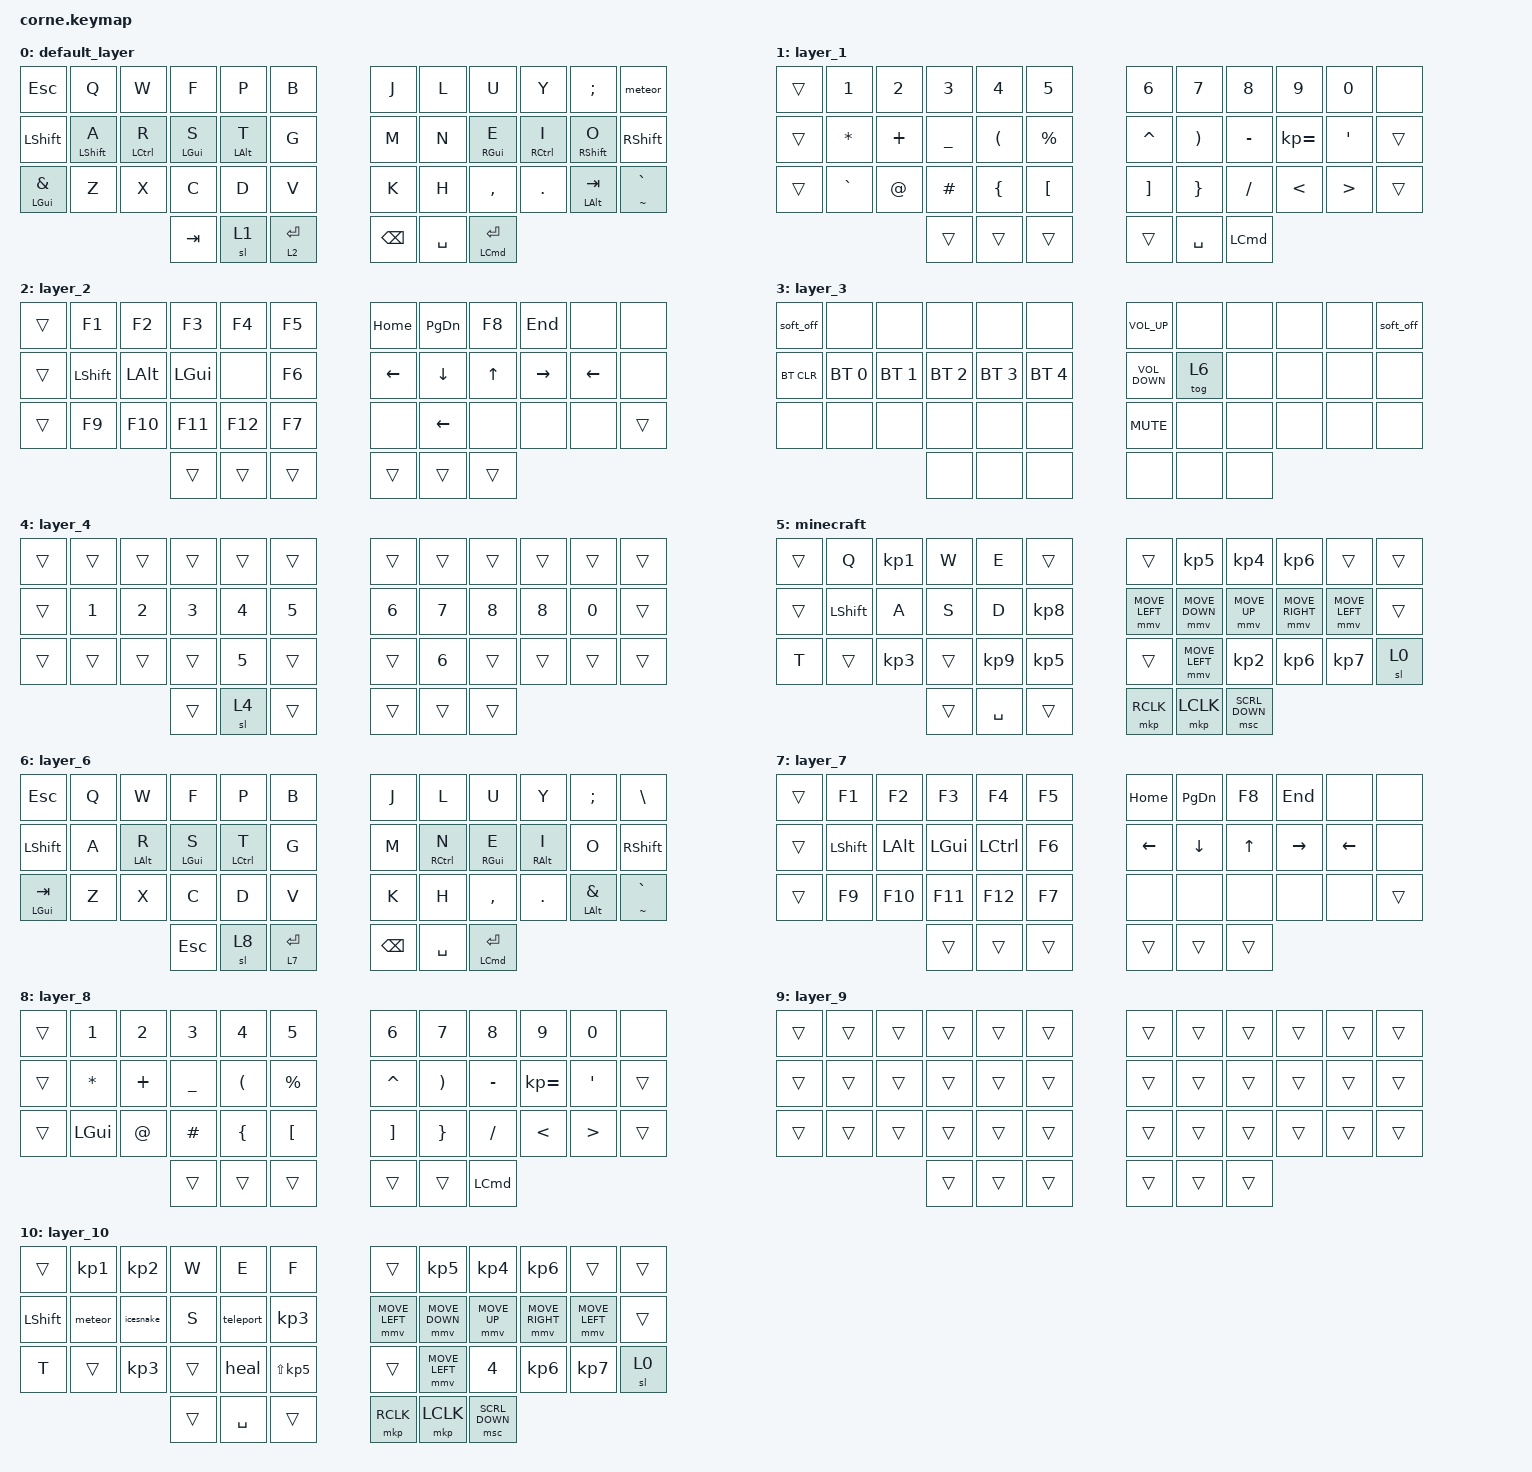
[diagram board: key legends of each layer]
/*
 * Copyright (c) 2020 The ZMK Contributors
 *s
 * SPDX-License-Identifier: MIT
 */

#include <dt-bindings/zmk/mouse.h>
#include <behaviors.dtsi>
#include <dt-bindings/zmk/bt.h>
#include <dt-bindings/zmk/keys.h>
#include <dt-bindings/zmk/pointing.h>

#define ZMK_POINTING_DEFAULT_MOVE_VAL 1500
#define ZMK_POINTING_DEFAULT_SCRL_VAL 20

/ {
    behaviors {
        /* --- index-finger mod-taps (parameterized: expect two params at use site) --- */

        mt_index_left: mt_index_left {
            compatible = "zmk,behavior-hold-tap";
            label = "MT_INDEX_LEFT";
            #binding-cells = <2>;
            tapping-term-ms = <500>;
            require-prior-idle-ms = <100>;
            flavor = "tap-preferred";
            quick-tap-ms = <50>;
            bindings = <&kp>, <&kp>;
        };

        mt_index_right: mt_index_right {
            compatible = "zmk,behavior-hold-tap";
            label = "MT_INDEX_RIGHT";
            #binding-cells = <2>;
            tapping-term-ms = <500>;
            require-prior-idle-ms = <100>;
            flavor = "tap-preferred";
            quick-tap-ms = <50>;
            bindings = <&kp>, <&kp>;
        };

        backspace_delete: backspace_delete {
            compatible = "zmk,behavior-mod-morph";
            label = "BACKSPACE_DELETE";
            bindings = <&kp BACKSPACE>, <&kp DELETE>;

            #binding-cells = <0>;
            mods = <(MOD_LSFT)>;
        };

        capslock_layer1: capslock_layer1 {
            compatible = "zmk,behavior-tap-dance";
            label = "CAPSLOCK_LAYER1";
            #binding-cells = <0>;
            bindings = <&mo 1>, <&kp CAPSLOCK>;
        };
    };

    combos {
        compatible = "zmk,combos";
        combo_timeout = <25>;

        mo_layer3 {
            bindings = <&mo 3>;
            key-positions = <37 38>;
        };

        layer-3-right {
            bindings = <&mo 3>;
            key-positions = <39 40>;
        };

        lparen {
            bindings = <&kp QUESTION>;
            key-positions = <16 15>;
            timeout-ms = <20>;
        };

        exclam {
            bindings = <&kp EXCLAMATION>;
            key-positions = <19 20>;
            timeout-ms = <20>;
        };

        backslash {
            bindings = <&kp BACKSLASH>;
            key-positions = <16 19>;
            timeout-ms = <20>;
        };

        dollar {
            bindings = <&kp DOLLAR>;
            key-positions = <15 20>;
            timeout-ms = <20>;
        };

        pipe {
            bindings = <&kp PIPE>;
            key-positions = <13 22>;
            timeout-ms = <20>;
        };

        tab {
            bindings = <&kp TAB>;
            key-positions = <40 36>;
            timeout-ms = <20>;
        };

        minecraffft {
            bindings = <&tog 5>;
            key-positions = <12 23>;
        };

        actuallymct {
            bindings = <&to 10>;
            key-positions = <2 14 15 3>;
        };

        esc {
            bindings = <&kp ESC>;
            key-positions = <15 19>;
        };
    };

    macros {
        teleport: teleport {
            compatible = "zmk,behavior-macro";
            #binding-cells = <0>;
            bindings = <&mkp RCLK &mkp RCLK &mkp RCLK>;
            label = "TELEPORT";
        };

        icesnake: meteor {
            compatible = "zmk,behavior-macro";
            #binding-cells = <0>;
            bindings = <&mkp RCLK &mkp RCLK &mkp LCLK>;
            label = "METEOR";
        };

        meteor: icesnake {
            compatible = "zmk,behavior-macro";
            #binding-cells = <0>;
            bindings = <&mkp RCLK &mkp LCLK &kp TILDE &mkp LCLK>;
            label = "ICESNAKE";
        };

        heal: heal {
            compatible = "zmk,behavior-macro";
            #binding-cells = <0>;
            bindings = <&mkp RCLK &mkp LCLK &mkp RCLK>;
            label = "HEAL";
        };
    };

    keymap {
        compatible = "zmk,keymap";

        default_layer {
            // -----------------------------------------------------------------------------------------
            // |  TAB |  Q  |  W  |  E  |  R  |  T  |   |  Y  |  U   |  I  |  O  |  P  | BSPC |
            // | CTRL |  A  |  S  |  D  |  F  |  G  |   |  H  |  J   |  K  |  L  |  ;  |  '   |
            // | SHFT |  Z  |  X  |  C  |  V  |  B  |   |  N  |  M   |  ,  |  .  |  /  | ESC  |
            //                    | GUI | LWR | SPC |   | ENT | RSE  | ALT |

            bindings = <
&kp ESC                 &kp Q                        &kp W                   &kp F                      &kp P                  &kp B          &kp J          &kp L      &kp U                       &kp Y                   &kp SEMICOLON                  &meteor
&kp LEFT_SHIFT          &mt_index_left LEFT_SHIFT A  &mt_index_left LCTRL R  &mt_index_left LEFT_GUI S  &mt_index_left LALT T  &kp G          &kp M          &kp N      &mt_index_left RIGHT_GUI E  &mt_index_left RCTRL I  &mt_index_right RIGHT_SHIFT O  &kp RIGHT_SHIFT
&mt LEFT_GUI AMPERSAND  &kp Z                        &kp X                   &kp C                      &kp D                  &kp V          &kp K          &kp H      &kp COMMA                   &kp DOT                 &mt LEFT_ALT TAB               &mt TILDE GRAVE
                                                                             &kp TAB                    &sl 1                  &lt 2 ENTER    &kp BACKSPACE  &kp SPACE  &mt LEFT_COMMAND ENTER
            >;
        };

        layer_1 {
            bindings = <
&trans  &kp NUMBER_1  &kp NUMBER_2  &kp NUMBER_3  &kp NUMBER_4          &kp N5              &kp NUMBER_6       &kp N7                 &kp N8     &kp N9        &kp N0            &none
&trans  &kp STAR      &kp PLUS      &kp UNDER     &kp LEFT_PARENTHESIS  &kp PERCENT         &kp CARET          &kp RIGHT_PARENTHESIS  &kp MINUS  &kp KP_EQUAL  &kp SINGLE_QUOTE  &trans
&trans  &kp GRAVE     &kp AT        &kp POUND     &kp LEFT_BRACE        &kp LEFT_BRACKET    &kp RIGHT_BRACKET  &kp RIGHT_BRACE        &kp FSLH   &kp LT        &kp GT            &trans
                                    &trans        &trans                &trans              &trans             &kp SPACE              &kp LCMD
            >;
        };

        layer_2 {
            bindings = <
&trans  &kp F1          &kp F2        &kp F3        &kp F4   &kp F5    &kp HOME  &kp PAGE_DOWN   &kp F8        &kp END    &none           &none
&trans  &kp LEFT_SHIFT  &kp LEFT_ALT  &kp LEFT_GUI  &none    &kp F6    &kp LEFT  &kp DOWN_ARROW  &kp UP_ARROW  &kp RIGHT  &kp LEFT_ARROW  &none
&trans  &kp F9          &kp F10       &kp F11       &kp F12  &kp F7    &none     &kp LEFT_ARROW  &none         &none      &none           &trans
                                      &trans        &trans   &trans    &trans    &trans          &trans
            >;
        };

        layer_3 {
            bindings = <
&soft_off   &none         &none         &none         &none         &none           &kp C_VOLUME_UP    &none   &none  &none  &none  &soft_off
&bt BT_CLR  &bt BT_SEL 0  &bt BT_SEL 1  &bt BT_SEL 2  &bt BT_SEL 3  &bt BT_SEL 4    &kp C_VOLUME_DOWN  &tog 6  &none  &none  &none  &none
&none       &none         &none         &none         &none         &none           &kp K_MUTE         &none   &none  &none  &none  &none
                                        &none         &none         &none           &none              &none   &none
            >;
        };

        layer_4 {
            bindings = <
&trans  &trans        &trans        &trans        &trans        &trans    &trans        &trans        &trans        &trans  &trans  &trans
&trans  &kp NUMBER_1  &kp NUMBER_2  &kp NUMBER_3  &kp NUMBER_4  &kp N5    &kp NUMBER_6  &kp N7        &kp NUMBER_8  &kp N8  &kp N0  &trans
&trans  &trans        &trans        &trans        &kp NUMBER_5  &trans    &trans        &kp NUMBER_6  &trans        &trans  &trans  &trans
                                    &trans        &sl 4         &trans    &trans        &trans        &trans
            >;
        };

        minecraft {
            bindings = <
&trans  &kp Q           &kp KP_NUMBER_1  &kp W   &kp E            &trans             &trans          &kp KP_NUMBER_5  &kp KP_N4        &kp KP_NUMBER_6  &trans          &trans
&trans  &kp LEFT_SHIFT  &kp A            &kp S   &kp D            &kp KP_NUMBER_8    &mmv MOVE_LEFT  &mmv MOVE_DOWN   &mmv MOVE_UP     &mmv MOVE_RIGHT  &mmv MOVE_LEFT  &trans
&kp T   &trans          &kp KP_NUMBER_3  &trans  &kp KP_NUMBER_9  &kp KP_NUMBER_5    &trans          &mmv MOVE_LEFT   &kp KP_NUMBER_2  &kp KP_N6        &kp KP_N7       &sl 0
                                         &trans  &kp SPACE        &trans             &mkp RCLK       &mkp LCLK        &msc SCRL_DOWN
            >;
        };

        layer_6 {
            bindings = <
&kp ESC           &kp Q  &kp W                  &kp F                      &kp P                   &kp B          &kp J          &kp L                   &kp U                       &kp Y                  &kp SEMICOLON           &kp BACKSLASH
&kp LEFT_SHIFT    &kp A  &mt_index_left LALT R  &mt_index_left LEFT_GUI S  &mt_index_left LCTRL T  &kp G          &kp M          &mt_index_left RCTRL N  &mt_index_left RIGHT_GUI E  &mt_index_left RALT I  &kp O                   &kp RIGHT_SHIFT
&mt LEFT_GUI TAB  &kp Z  &kp X                  &kp C                      &kp D                   &kp V          &kp K          &kp H                   &kp COMMA                   &kp DOT                &mt LEFT_ALT AMPERSAND  &mt TILDE GRAVE
                                                &kp ESCAPE                 &sl 8                   &lt 7 ENTER    &kp BACKSPACE  &kp SPACE               &mt LEFT_COMMAND ENTER
            >;
        };

        layer_7 {
            bindings = <
&trans  &kp F1          &kp F2        &kp F3        &kp F4     &kp F5    &kp HOME  &kp PAGE_DOWN   &kp F8        &kp END    &none           &none
&trans  &kp LEFT_SHIFT  &kp LEFT_ALT  &kp LEFT_GUI  &kp LCTRL  &kp F6    &kp LEFT  &kp DOWN_ARROW  &kp UP_ARROW  &kp RIGHT  &kp LEFT_ARROW  &none
&trans  &kp F9          &kp F10       &kp F11       &kp F12    &kp F7    &none     &none           &none         &none      &none           &trans
                                      &trans        &trans     &trans    &trans    &trans          &trans
            >;
        };

        layer_8 {
            bindings = <
&trans  &kp NUMBER_1  &kp NUMBER_2  &kp NUMBER_3  &kp NUMBER_4          &kp N5              &kp NUMBER_6       &kp N7                 &kp N8     &kp N9        &kp N0            &none
&trans  &kp STAR      &kp PLUS      &kp UNDER     &kp LEFT_PARENTHESIS  &kp PERCENT         &kp CARET          &kp RIGHT_PARENTHESIS  &kp MINUS  &kp KP_EQUAL  &kp SINGLE_QUOTE  &trans
&trans  &kp LEFT_GUI  &kp AT        &kp POUND     &kp LEFT_BRACE        &kp LEFT_BRACKET    &kp RIGHT_BRACKET  &kp RIGHT_BRACE        &kp FSLH   &kp LT        &kp GT            &trans
                                    &trans        &trans                &trans              &trans             &trans                 &kp LCMD
            >;
        };

        layer_9 {
            bindings = <
&trans  &trans  &trans  &trans  &trans  &trans    &trans  &trans  &trans  &trans  &trans  &trans
&trans  &trans  &trans  &trans  &trans  &trans    &trans  &trans  &trans  &trans  &trans  &trans
&trans  &trans  &trans  &trans  &trans  &trans    &trans  &trans  &trans  &trans  &trans  &trans
                        &trans  &trans  &trans    &trans  &trans  &trans
            >;
        };

        layer_10 {
            bindings = <
&trans          &kp KP_N1  &kp KP_NUMBER_2  &kp W   &kp E      &kp F                  &trans          &kp KP_NUMBER_5  &kp KP_N4       &kp KP_NUMBER_6  &trans          &trans
&kp LEFT_SHIFT  &meteor    &icesnake        &kp S   &teleport  &kp KP_NUMBER_3        &mmv MOVE_LEFT  &mmv MOVE_DOWN   &mmv MOVE_UP    &mmv MOVE_RIGHT  &mmv MOVE_LEFT  &trans
&kp T           &trans     &kp KP_NUMBER_3  &trans  &heal      &kp LS(KP_NUMBER_5)    &trans          &mmv MOVE_LEFT   &kp N4          &kp KP_N6        &kp KP_N7       &sl 0
                                            &trans  &kp SPACE  &trans                 &mkp RCLK       &mkp LCLK        &msc SCRL_DOWN
            >;
        };
    };
};
